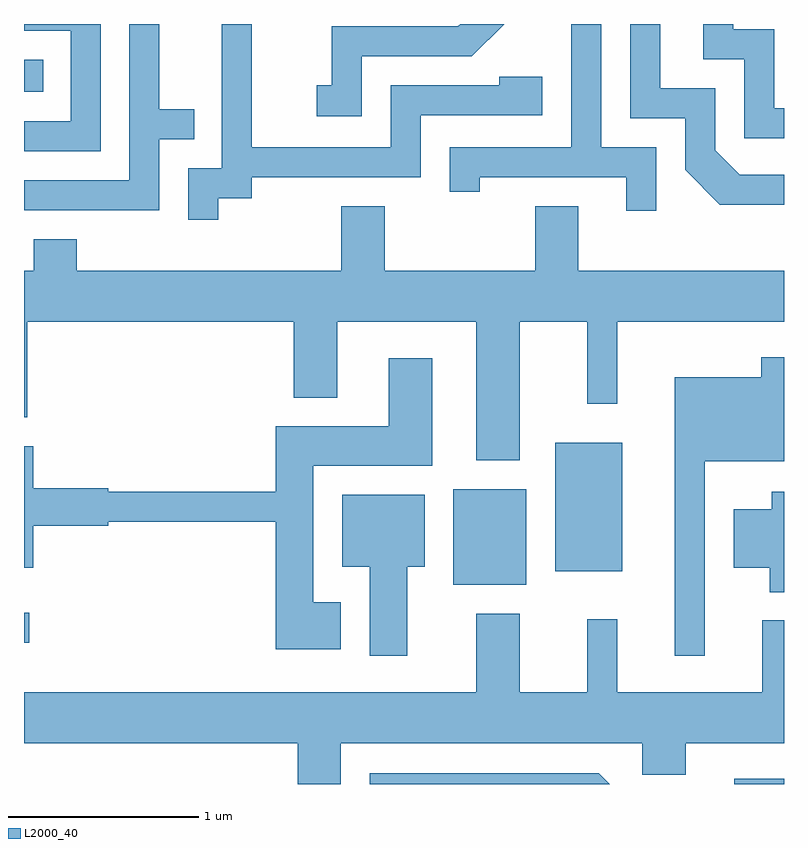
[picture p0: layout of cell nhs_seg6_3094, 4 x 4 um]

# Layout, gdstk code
import gdstk
lib = gdstk.Library(unit=1e-6, precision=1e-09)
def R(c, l, rs):  # rectangles x0, y0, x1, y1
    for r in rs: c.add(gdstk.rectangle(r[:2], r[2:], *l))
def P(c, l, *ps):  # polygons
    for p in ps: c.add(gdstk.Polygon(p, *l))
L2000_40 = (2000, 40)

nhs_seg6_3094 = lib.new_cell('nhs_seg6_3094')
R(nhs_seg6_3094, L2000_40, [(281.348,1654.162,281.611,1654.189), (277.611,1654.906,277.638,1655.064), (279.871,1655.211,280.254,1655.714), (280.406,1655.281,280.759,1655.959), (277.611,1657.806,277.713,1657.974)])
P(nhs_seg6_3094, L2000_40, [(279.389,1657.991),(279.967,1657.991),(280.138,1658.162),(279.907,1658.162),(279.894,1658.149),(279.231,1658.149),(279.231,1657.839),(279.153,1657.839),(279.153,1657.676),(279.389,1657.676)],
  [(280.939,1657.514),(280.649,1657.514),(280.649,1658.162),(280.491,1658.162),(280.491,1657.514),(279.851,1657.514),(279.851,1657.278),(280.009,1657.278),(280.009,1657.356),(280.781,1657.356),(280.781,1657.178),(280.939,1657.178)],
  [(278.014,1658.162),(277.611,1658.162),(277.611,1658.126),(277.856,1658.126),(277.856,1657.649),(277.611,1657.649),(277.611,1657.491),(278.014,1657.491)],
  [(281.611,1657.369),(281.377,1657.369),(281.249,1657.497),(281.249,1657.824),(280.959,1657.824),(280.959,1658.162),(280.801,1658.162),(280.801,1657.666),(281.091,1657.666),(281.091,1657.394),(281.274,1657.211),(281.611,1657.211)],
  [(281.611,1657.719),(281.559,1657.719),(281.559,1658.134),(281.344,1658.134),(281.344,1658.162),(281.186,1658.162),(281.186,1657.976),(281.401,1657.976),(281.401,1657.561),(281.611,1657.561)],
  [(278.324,1657.556),(278.508,1657.556),(278.508,1657.714),(278.324,1657.714),(278.324,1658.162),(278.166,1658.162),(278.166,1657.339),(277.611,1657.339),(277.611,1657.181),(278.324,1657.181)],
  [(278.634,1657.246),(278.809,1657.246),(278.809,1657.356),(279.699,1657.356),(279.699,1657.681),(280.339,1657.681),(280.339,1657.884),(280.111,1657.884),(280.111,1657.839),(279.541,1657.839),(279.541,1657.514),(278.809,1657.514),(278.809,1658.162),(278.651,1658.162),(278.651,1657.404),(278.476,1657.404),(278.476,1657.133),(278.634,1657.133)],
  [(280.219,1656.596),(280.576,1656.596),(280.576,1656.163),(280.734,1656.163),(280.734,1656.596),(281.611,1656.596),(281.611,1656.864),(280.529,1656.864),(280.529,1657.204),(280.301,1657.204),(280.301,1656.864),(279.509,1656.864),(279.509,1657.204),(279.281,1657.204),(279.281,1656.864),(277.889,1656.864),(277.889,1657.029),(277.661,1657.029),(277.661,1656.864),(277.611,1656.864),(277.611,1656.091),(277.629,1656.091),(277.629,1656.596),(279.031,1656.596),(279.031,1656.196),(279.259,1656.196),(279.259,1656.596),(279.991,1656.596),(279.991,1655.866),(280.219,1655.866)],
  [(281.194,1655.861),(281.611,1655.861),(281.611,1656.408),(281.491,1656.408),(281.491,1656.304),(281.036,1656.304),(281.036,1654.838),(281.194,1654.838)],
  [(279.279,1655.119),(279.134,1655.119),(279.134,1655.836),(279.759,1655.836),(279.759,1656.404),(279.531,1656.404),(279.531,1656.044),(278.936,1656.044),(278.936,1655.699),(278.054,1655.699),(278.054,1655.719),(277.659,1655.719),(277.659,1655.939),(277.611,1655.939),(277.611,1655.301),(277.659,1655.301),(277.659,1655.521),(278.054,1655.521),(278.054,1655.541),(278.936,1655.541),(278.936,1654.871),(279.279,1654.871)],
  [(281.611,1655.699),(281.546,1655.699),(281.546,1655.609),(281.346,1655.609),(281.346,1655.301),(281.536,1655.301),(281.536,1655.171),(281.611,1655.171)],
  [(279.629,1655.306),(279.719,1655.306),(279.719,1655.684),(279.286,1655.684),(279.286,1655.306),(279.431,1655.306),(279.431,1654.836),(279.629,1654.836)],
  [(279.279,1654.376),(280.866,1654.376),(280.866,1654.211),(281.094,1654.211),(281.094,1654.376),(281.611,1654.376),(281.611,1655.023),(281.496,1655.023),(281.496,1654.644),(280.734,1654.644),(280.734,1655.028),(280.576,1655.028),(280.576,1654.644),(280.219,1654.644),(280.219,1655.059),(279.991,1655.059),(279.991,1654.644),(277.611,1654.644),(277.611,1654.376),(279.051,1654.376),(279.051,1654.162),(279.279,1654.162)],
  [(280.637,1654.219),(279.431,1654.219),(279.431,1654.162),(280.694,1654.162)])

lib.write_gds('nhs_seg6_3094.gds')
